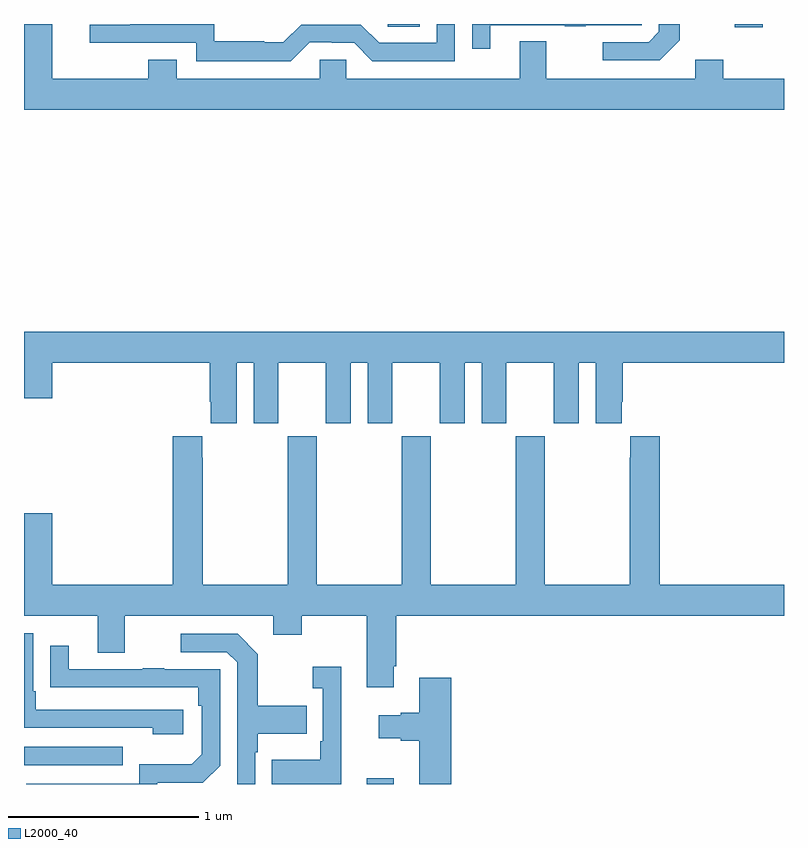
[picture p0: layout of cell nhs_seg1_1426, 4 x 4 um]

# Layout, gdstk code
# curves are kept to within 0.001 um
import gdstk
lib = gdstk.Library(unit=1e-6, precision=1e-09)
def R(c, l, rs):  # rectangles x0, y0, x1, y1
    for r in rs: c.add(gdstk.rectangle(r[:2], r[2:], *l))
def P(c, l, *ps):  # polygons
    for p in ps: c.add(gdstk.Polygon(p, *l))
L2000_40 = (2000, 40)

nhs_seg1_1426 = lib.new_cell('nhs_seg1_1426')
R(nhs_seg1_1426, L2000_40, [(190.805,532.199,190.945,532.228), (189,532.299,189.521,532.395), (192.741,536.181,192.889,536.199), (190.914,536.185,191.082,536.199)])
P(nhs_seg1_1426, L2000_40, [(190.503,536.103),(190.619,536.103),(190.619,536.1),(190.737,536.1),(190.833,536.004),(191.268,536.004),(191.268,536.199),(191.172,536.199),(191.172,536.1),(190.869,536.1),(190.773,536.196),(190.458,536.196),(190.365,536.103),(190.265,536.103),(190.265,536.107),(190.002,536.107),(190.002,536.199),(189.558,536.199),(189.558,536.196),(189.345,536.196),(189.345,536.1),(189.906,536.1),(189.906,536.003),(190.403,536.003)],
  [(193,535.912),(192.681,535.912),(192.681,536.011),(192.533,536.011),(192.533,535.912),(191.749,535.912),(191.749,536.107),(191.609,536.107),(191.609,535.912),(190.695,535.912),(190.695,536.01),(190.557,536.01),(190.557,535.912),(189.805,535.912),(189.805,536.011),(189.653,536.011),(189.653,535.912),(189.148,535.912),(189.148,536.199),(189,536.199),(189,535.748),(193,535.748)],
  [(192.451,536.113),(192.451,536.199),(192.342,536.199),(192.342,536.157),(192.288,536.103),(192.045,536.103),(192.045,536.007),(192.345,536.007)],
  [(191.455,536.193),(191.845,536.193),(191.845,536.188),(191.957,536.188),(191.957,536.193),(192.252,536.193),(192.252,536.199),(191.359,536.199),(191.359,536.07),(191.455,536.07)],
  [(189,534.228),(189.148,534.228),(189.148,534.416),(189.977,534.416),(189.977,534.211),(189.983,534.211),(189.983,534.099),(190.12,534.099),(190.12,534.416),(190.208,534.416),(190.208,534.099),(190.339,534.099),(190.339,534.416),(190.589,534.416),(190.589,534.099),(190.72,534.099),(190.72,534.416),(190.808,534.416),(190.808,534.099),(190.939,534.099),(190.939,534.416),(191.189,534.416),(191.189,534.099),(191.32,534.099),(191.32,534.416),(191.408,534.416),(191.408,534.099),(191.539,534.099),(191.539,534.416),(191.789,534.416),(191.789,534.099),(191.92,534.099),(191.92,534.416),(192.008,534.416),(192.008,534.099),(192.145,534.099),(192.145,534.211),(192.152,534.211),(192.152,534.416),(193,534.416),(193,534.58),(189,534.58)],
  [(193,533.248),(192.347,533.248),(192.347,534.028),(192.191,534.028),(192.191,533.915),(192.187,533.915),(192.187,533.248),(191.742,533.248),(191.742,534.028),(191.587,534.028),(191.587,533.248),(191.142,533.248),(191.142,534.028),(190.987,534.028),(190.987,533.248),(190.542,533.248),(190.542,534.028),(190.387,534.028),(190.387,533.248),(189.942,533.248),(189.942,533.915),(189.937,533.915),(189.937,534.028),(189.782,534.028),(189.782,533.248),(189.148,533.248),(189.148,533.623),(189,533.623),(189,533.084),(189.389,533.084),(189.389,532.89),(189.529,532.89),(189.529,533.084),(190.313,533.084),(190.313,532.985),(190.461,532.985),(190.461,533.084),(190.805,533.084),(190.805,532.707),(190.945,532.707),(190.945,532.819),(190.958,532.819),(190.958,533.084),(193,533.084)],
  [(189.838,532.59),(189.061,532.59),(189.061,532.687),(189.048,532.687),(189.048,532.992),(189,532.992),(189,532.494),(189.677,532.494),(189.677,532.46),(189.838,532.46)],
  [(190.218,532.367),(190.231,532.367),(190.231,532.463),(190.487,532.463),(190.487,532.611),(190.231,532.611),(190.231,532.883),(190.125,532.989),(189.825,532.989),(189.825,532.893),(190.068,532.893),(190.122,532.839),(190.122,532.199),(190.218,532.199)],
  [(189.702,532.206),(189.942,532.206),(190.032,532.296),(190.032,532.803),(189.737,532.803),(189.737,532.808),(189.625,532.808),(189.625,532.803),(189.235,532.803),(189.235,532.927),(189.139,532.927),(189.139,532.708),(189.916,532.707),(189.916,532.61),(189.936,532.61),(189.936,532.356),(189.883,532.303),(189.606,532.303),(189.606,532.2),(189.011,532.199),(189.702,532.199)],
  [(190.67,532.816),(190.521,532.816),(190.521,532.703),(190.572,532.703),(190.572,532.423),(190.56,532.423),(190.56,532.327),(190.303,532.327),(190.303,532.199),(190.67,532.199)],
  [(191.249,532.759),(191.081,532.759),(191.081,532.574),(190.982,532.574),(190.982,532.561),(190.866,532.561),(190.866,532.439),(190.982,532.439),(190.982,532.427),(191.081,532.427),(191.081,532.199),(191.249,532.199)])

lib.write_gds('nhs_seg1_1426.gds')
